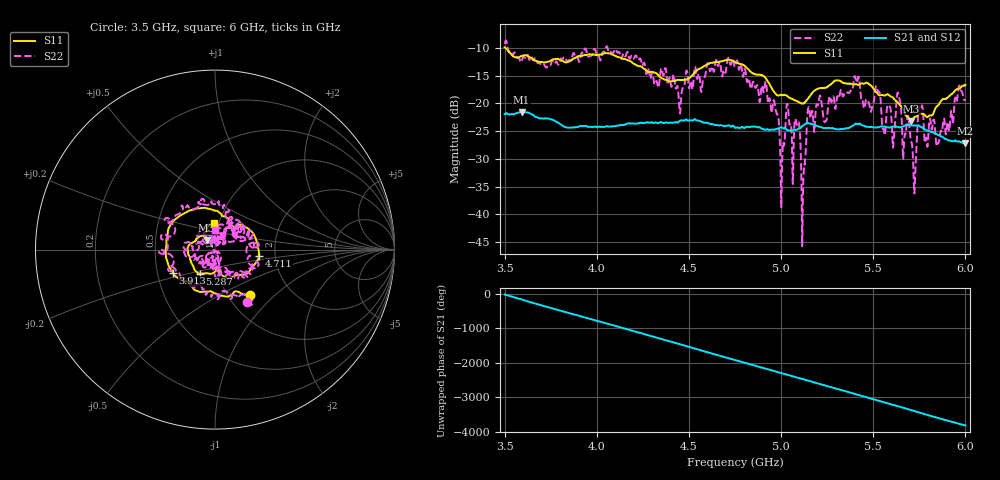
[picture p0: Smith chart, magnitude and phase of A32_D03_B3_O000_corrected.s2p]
! Created with skrf 1.9.0 (http://scikit-rf.org).
# Hz S RI R 50.0
!freq ReS11 ImS11 ReS21 ImS21 ReS12 ImS12 ReS22 ImS22
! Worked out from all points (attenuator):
!   1601 points, 3.5 GHz to 6 GHz, reference 50 ohm
!   highest |S21| = -21.53 dB at 3.592 GHz (marker M1); lowest = -27.2 dB at 5.998 GHz (marker M2)
!   lowest |S11| = -23.2 dB at 5.706 GHz (marker M3), VSWR 1.15, Z = 45.3 + j4.67 ohm
!   |S11| at or under -10 dB: 3.505 GHz to end of sweep
!   |S22| runs from -45.7 to -8.7 dB; largest |S21 - S12| = 0.00098
!   S11 on the Smith chart (normalised r, x): 3.5 GHz: 1.26, -0.71; 3.913 GHz: 0.60, -0.17; 4.711 GHz: 1.64, -0.12; 5.287 GHz: 0.82, -0.22; 6 GHz: 0.94, +0.28
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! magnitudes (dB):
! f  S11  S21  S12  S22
! 3.5 GHz  -9.9  -21.9  -21.9  -9.3
! 3.592 GHz  -11.4  -21.5  -21.5  -12.4
! 3.913 GHz  -11.5  -24.1  -24.0  -11.4
! 3.917 GHz  -11.4  -24.1  -24.1  -10.9
! 4.334 GHz  -15.0  -23.6  -23.5  -17.1
! 4.711 GHz  -12.1  -24.0  -23.9  -11.9
! 4.75 GHz  -12.6  -24.4  -24.3  -13.4
! 4.969 GHz  -18.2  -24.6  -24.6  -20.8
! 5.006 GHz  -18.5  -24.4  -24.3  -29.8
! 5.034 GHz  -18.7  -24.8  -24.7  -20.1
! 5.088 GHz  -19.6  -24.7  -24.7  -23.6
! 5.12 GHz  -20.0  -24.0  -23.9  -34.1
! 5.145 GHz  -19.2  -23.5  -23.5  -21.2
! 5.167 GHz  -18.2  -23.7  -23.7  -21.4
! 5.287 GHz  -16.0  -24.5  -24.5  -19.2
! 5.584 GHz  -18.5  -24.3  -24.3  -20.4
! 5.706 GHz  -23.2  -24.0  -23.9  -27.0
! 5.725 GHz  -22.4  -23.9  -23.9  -34.9
! 5.756 GHz  -21.9  -24.2  -24.1  -21.1
! 5.85 GHz  -20.4  -25.7  -25.6  -27.1
! 5.998 GHz  -16.8  -27.2  -27.1  -19.3
! 6 GHz  -16.7  -27.2  -27.1  -19.3
